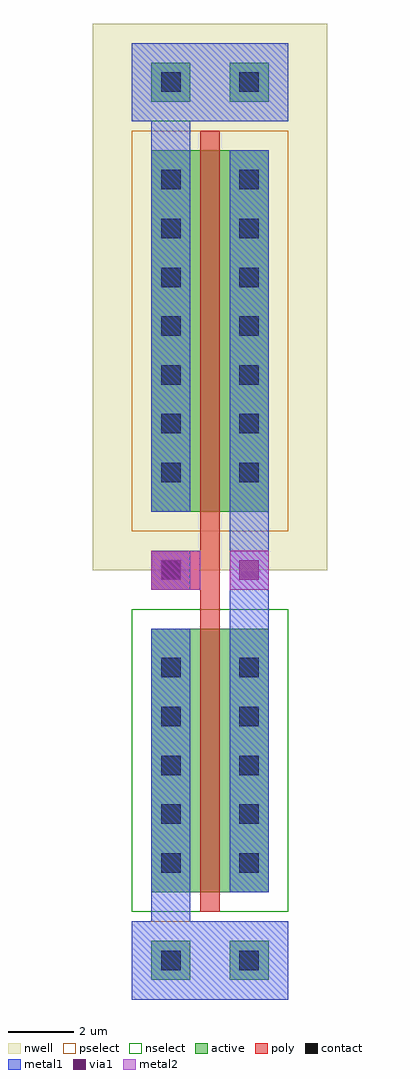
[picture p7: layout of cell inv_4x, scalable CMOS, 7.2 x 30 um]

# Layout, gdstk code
import gdstk
lib = gdstk.Library(unit=1e-6, precision=1e-09)
def R(c, l, rs):  # rectangles x0, y0, x1, y1
    for r in rs: c.add(gdstk.rectangle(r[:2], r[2:], *l))
def A(c, l, x, y, w, h, nx, ny, dx, dy):  # array of equal rectangles
    R(c, l, [(x+i*dx, y+j*dy, x+i*dx+w, y+j*dy+h) for i in range(nx) for j in range(ny)])
def P(c, l, *ps):  # polygons
    for p in ps: c.add(gdstk.Polygon(p, *l))
contact = (25, 0)
nwell = (42, 0)
active = (43, 0)
pselect = (44, 0)
nselect = (45, 0)
poly = (46, 0)
metal1 = (49, 0)
via1 = (50, 0)
metal2 = (51, 0)

inv_4x = lib.new_cell('inv_4x')
A(inv_4x, contact, 0.9, 2.7, 0.6, 0.6, 1, 5, 0, 1.5)
A(inv_4x, contact, 3.3, 2.7, 0.6, 0.6, 1, 5, 0, 1.5)
A(inv_4x, contact, 0.9, 14.7, 0.6, 0.6, 1, 7, 0, 1.5)
A(inv_4x, contact, 3.3, 14.7, 0.6, 0.6, 1, 7, 0, 1.5)
R(inv_4x, contact, [(0.9,-0.3,1.5,0.3), (3.3,-0.3,3.9,0.3), (0.9,11.7,1.5,12.3), (0.9,26.7,1.5,27.3), (3.3,26.7,3.9,27.3)])
R(inv_4x, nwell, [(-1.2,12,6,28.8)])
R(inv_4x, active, [(0.6,-0.6,1.8,0.6), (3,-0.6,4.2,0.6), (0.6,2.1,4.2,10.2), (0.6,13.8,4.2,24.9), (0.6,26.4,1.8,27.6), (3,26.4,4.2,27.6)])
R(inv_4x, pselect, [(0,-1.2,4.8,1.2), (0,13.2,4.8,25.5)])
R(inv_4x, nselect, [(0,1.5,4.8,10.8), (0,25.8,4.8,28.2)])
P(inv_4x, poly, [(2.7,25.5),(2.1,25.5),(2.1,12.6),(0.6,12.6),(0.6,11.4),(2.1,11.4),(2.1,1.5),(2.7,1.5)])
R(inv_4x, metal1, [(0,-1.2,4.8,1.2), (3,2.1,4.2,24.9), (0.6,11.4,1.8,12.6), (0,25.8,4.8,28.2)])
P(inv_4x, metal1, [(4.8,28.2),(0,28.2),(0,25.8),(0.6,25.8),(0.6,13.8),(1.8,13.8),(1.8,25.8),(4.8,25.8)],
  [(4.8,1.2),(1.8,1.2),(1.8,10.2),(0.6,10.2),(0.6,1.2),(0,1.2),(0,-1.2),(4.8,-1.2)])
R(inv_4x, via1, [(0.9,11.7,1.5,12.3), (3.3,11.7,3.9,12.3)])
R(inv_4x, metal2, [(0.6,11.4,2.1,12.6), (0.6,11.4,1.8,12.6), (0.6,11.4,1.8,12.6), (3,11.4,4.2,12.6), (3,11.4,4.2,12.6)])

lib.write_gds('inv_4x.gds')
